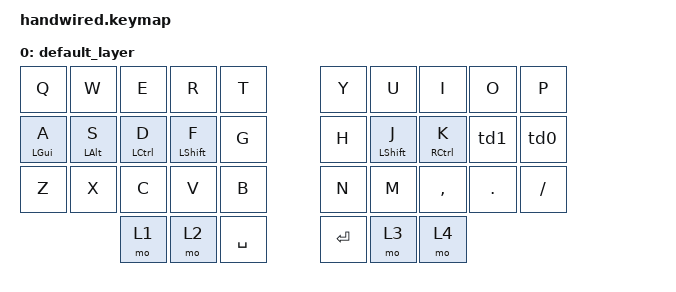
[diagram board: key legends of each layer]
/*
 * Copyright (c) 2020 The ZMK Contributors
 *
 * SPDX-License-Identifier: MIT
 */

#include <behaviors.dtsi>
#include <dt-bindings/zmk/keys.h>
#include <dt-bindings/zmk/bt.h>
#include <dt-bindings/zmk/mouse.h>

/ {
    macros {
        ctrlshiftescape: ctrlshiftescape {
            compatible = "zmk,behavior-macro";
            #binding-cells = <0>;
            bindings = <&none &kp &kp>;
            label = "CTRLSHIFTESCAPE";
        };
    };
 
behaviors {
        td0: tap_dance_0 {
            compatible = "zmk,behavior-tap-dance";
            #binding-cells = <0>;
            tapping-term-ms = <200>;
            bindings = <&mt RIGHT_GUI SEMICOLON>, <&kp  LEFT_BRACKET>;
        };
td1: tap_dance_1 {
            compatible = "zmk,behavior-tap-dance";
            #binding-cells = <0>;
            tapping-term-ms = <200>;
            bindings = <&mt RIGHT_ALT L>, <&kp  APOSTROPHE>;
        };
td2: tap_dance_2 {
            compatible = "zmk,behavior-tap-dance";
            #binding-cells = <0>;
            tapping-term-ms = <200>;
            bindings = <&mkp RCLK>, <&kt KP_NUMLOCK>;
        };
td3: tap_dance_3 {
            compatible = "zmk,behavior-tap-dance";
            #binding-cells = <0>;
            tapping-term-ms = <200>;
            bindings = <&kp N9>, <&kt KP_NUMLOCK>;
        };
    };
    keymap {
        compatible = "zmk,keymap";

        default_layer {
            // -----------------------------------------------------------------------------------------
            // |  TAB |  Q  |  W  |  E  |  R  |  T  |   |  Y  |  U   |  I  |  O  |  P  | BKSP |
            // | CTRL |  A  |  S  |  D  |  F  |  G  |   |  H  |  J   |  K  |  L  |  ;  |  '   |
            // | SHFT |  Z  |  X  |  C  |  V  |  B  |   |  N  |  M   |  ,  |  .  |  /  | ESC  |
            //                    | GUI | LWR | SPC |   | ENT | RSE  | ALT |          

            bindings = <
&kp Q           &kp W           &kp E        &kp R             &kp T          &kp Y      &kp U         &kp I        &kp O            &kp P
&mt LEFT_GUI A  &mt LEFT_ALT S  &mt LCTRL D  &mt LEFT_SHIFT F  &kp G          &kp H      &mt LSHIFT J  &mt RCTRL K  &td1  &td0
&kp Z           &kp X           &kp C        &kp V             &kp B          &kp N      &kp M         &kp COMMA    &kp DOT          &kp FSLH
                                &mo 1        &mo 2   &kp SPACE  &kp ENTER     &mo 3        &mo 4  
                                            
            >;
        };

       
    };
};
